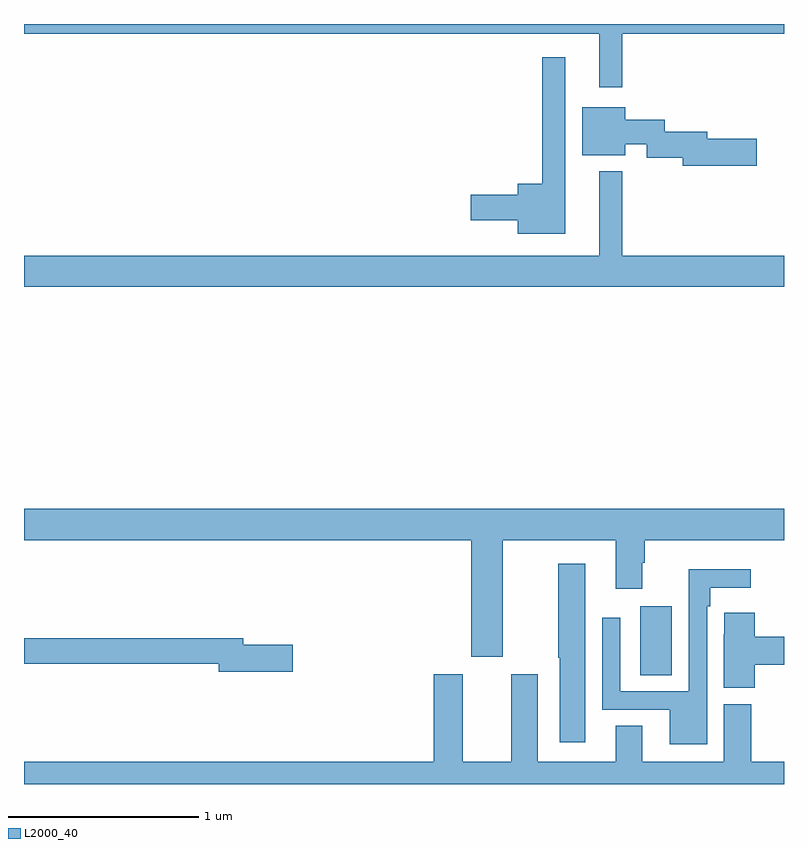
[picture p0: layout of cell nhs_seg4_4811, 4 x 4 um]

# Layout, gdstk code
import gdstk
lib = gdstk.Library(unit=1e-6, precision=1e-09)
def R(c, l, rs):  # rectangles x0, y0, x1, y1
    for r in rs: c.add(gdstk.rectangle(r[:2], r[2:], *l))
def P(c, l, *ps):  # polygons
    for p in ps: c.add(gdstk.Polygon(p, *l))
L2000_40 = (2000, 40)

nhs_seg4_4811 = lib.new_cell('nhs_seg4_4811')
R(nhs_seg4_4811, L2000_40, [(374.243,765.472,374.41,765.835)])
P(nhs_seg4_4811, L2000_40, [(374.149,768.848),(375,768.848),(375,768.9),(371,768.9),(371,768.848),(374.027,768.848),(374.027,768.567),(374.149,768.567)],
  [(373.849,768.724),(373.728,768.724),(373.728,768.058),(373.598,768.058),(373.598,768.002),(373.35,768.002),(373.35,767.867),(373.598,767.867),(373.598,767.795),(373.849,767.795)],
  [(374.857,768.296),(374.596,768.296),(374.596,768.332),(374.373,768.332),(374.373,768.397),(374.164,768.397),(374.164,768.463),(373.937,768.463),(373.937,768.209),(374.164,768.209),(374.164,768.268),(374.277,768.268),(374.277,768.196),(374.468,768.196),(374.468,768.154),(374.857,768.154)],
  [(375,767.68),(374.149,767.68),(374.149,768.124),(374.027,768.124),(374.027,767.68),(371,767.68),(371,767.516),(375,767.516)],
  [(373.519,766.184),(374.114,766.184),(374.114,765.927),(374.254,765.927),(374.254,766.064),(374.267,766.064),(374.267,766.184),(375,766.184),(375,766.348),(371,766.348),(371,766.184),(373.355,766.184),(373.355,765.57),(373.519,765.57)],
  [(373.954,766.06),(373.813,766.06),(373.813,765.565),(373.82,765.565),(373.82,765.12),(373.954,765.12)],
  [(374.595,765.836),(374.611,765.836),(374.611,765.932),(374.824,765.932),(374.824,766.03),(374.499,766.03),(374.499,765.387),(374.139,765.387),(374.139,765.775),(374.043,765.775),(374.043,765.291),(374.399,765.291),(374.399,765.11),(374.595,765.11)],
  [(374.846,765.527),(375,765.527),(375,765.674),(374.846,765.674),(374.846,765.802),(374.685,765.802),(374.685,765.689),(374.684,765.689),(374.684,765.406),(374.846,765.406)],
  [(372.415,765.632),(372.154,765.632),(372.154,765.668),(371,765.668),(371,765.532),(372.026,765.532),(372.026,765.49),(372.415,765.49)],
  [(375,765.016),(374.828,765.016),(374.828,765.321),(374.684,765.321),(374.684,765.016),(374.254,765.016),(374.254,765.206),(374.114,765.206),(374.114,765.016),(373.705,765.016),(373.705,765.478),(373.565,765.478),(373.565,765.016),(373.309,765.016),(373.309,765.478),(373.157,765.478),(373.157,765.016),(371,765.016),(371,764.9),(375,764.9)])

lib.write_gds('nhs_seg4_4811.gds')
